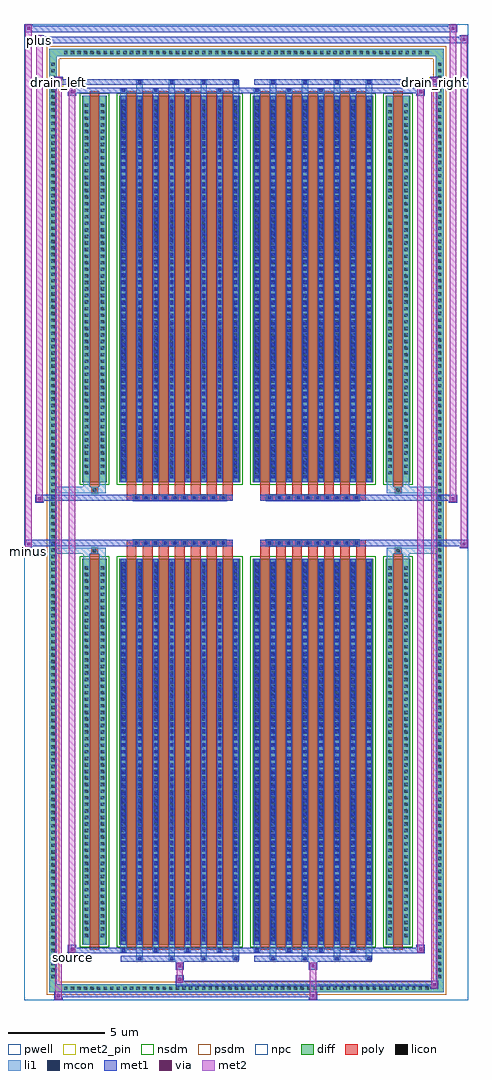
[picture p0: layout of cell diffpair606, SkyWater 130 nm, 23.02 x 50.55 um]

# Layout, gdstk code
import gdstk
lib = gdstk.Library(unit=1e-6, precision=5e-09)
def R(c, l, rs):  # rectangles x0, y0, x1, y1
    for r in rs: c.add(gdstk.rectangle(r[:2], r[2:], *l))
def A(c, l, x, y, w, h, nx, ny, dx, dy):  # array of equal rectangles
    R(c, l, [(x+i*dx, y+j*dy, x+i*dx+w, y+j*dy+h) for i in range(nx) for j in range(ny)])
def P(c, l, *ps):  # polygons
    for p in ps: c.add(gdstk.Polygon(p, *l))
pwell = (64, 44)
diff = (65, 20)
poly = (66, 20)
licon = (66, 44)
li1 = (67, 20)
mcon = (67, 44)
met1 = (68, 20)
via = (68, 44)
met2_pin = (69, 16)
met2 = (69, 20)
nsdm = (93, 44)
psdm = (94, 20)
npc = (95, 20)

diffpair606 = lib.new_cell('diffpair606')
R(diffpair606, pwell, [(-11.49,-24.84,11.49,25.71), (-8.81,-23.03,-0.01,-0.805), (0.01,-23.03,8.81,-0.805), (-8.81,0.805,-0.01,23.03), (0.01,0.805,8.81,23.03)])
A(diffpair606, diff, -9.555, -24.44, 0.41, 0.41, 56, 2, 0.34, 48.47)
A(diffpair606, diff, -10.22, -23.835, 0.41, 0.41, 1, 140, 0, 0.34)
A(diffpair606, diff, 9.81, -23.835, 0.41, 0.41, 1, 140, 0, 0.34)
R(diffpair606, diff, [(-9.555,-24.44,9.555,-24.03), (-10.22,-23.835,-9.81,23.835), (9.81,-23.835,10.22,23.835), (-8.5,-21.985,-7.22,-1.985), (-6.58,-21.985,-0.32,-1.985), (0.32,-21.985,6.58,-1.985), (7.22,-21.985,8.5,-1.985), (-8.5,1.985,-7.22,21.985), (-6.58,1.985,-0.32,21.985), (0.32,1.985,6.58,21.985), (7.22,1.985,8.5,21.985), (-9.555,24.03,9.555,24.44)])
P(diffpair606, diff, [(10.22,24.44),(-10.22,24.44),(-10.22,-24.03),(-9.81,-24.03),(-9.81,24.03),(9.81,24.03),(9.81,-24.03),(-9.81,-24.03),(-10.22,-24.03),(-10.22,-24.44),(10.22,-24.44)])
A(diffpair606, poly, -6.19, -22.235, 0.5, 20.5, 7, 2, 0.83, 23.97)
A(diffpair606, poly, 0.71, -22.235, 0.5, 20.5, 7, 2, 0.83, 23.97)
A(diffpair606, poly, -6.19, -1.735, 0.5, 0.4, 7, 2, 0.83, 3.07)
A(diffpair606, poly, 0.71, -1.735, 0.5, 0.4, 7, 2, 0.83, 3.07)
A(diffpair606, poly, -5.865, -1.335, 0.33, 0.33, 10, 2, 0.5, 2.34)
A(diffpair606, poly, 1.035, -1.335, 0.33, 0.33, 10, 2, 0.5, 2.34)
R(diffpair606, poly, [(-8.11,-22.235,-7.61,-1.735), (7.61,-22.235,8.11,-1.735), (-8.025,-1.735,-7.695,-1.405), (-8.025,-1.735,-7.695,-1.405), (7.695,-1.735,8.025,-1.405), (7.695,-1.735,8.025,-1.405), (-6.19,-1.335,-0.71,-1.005), (0.71,-1.335,6.19,-1.005), (-6.19,1.005,-0.71,1.335), (0.71,1.005,6.19,1.335), (-8.025,1.405,-7.695,1.735), (-8.025,1.405,-7.695,1.735), (7.695,1.405,8.025,1.735), (7.695,1.405,8.025,1.735), (-8.11,1.735,-7.61,22.235), (7.61,1.735,8.11,22.235)])
A(diffpair606, licon, -9.435, -24.32, 0.17, 0.17, 56, 2, 0.34, 48.47)
A(diffpair606, licon, -10.1, -23.715, 0.17, 0.17, 1, 140, 0, 0.34)
A(diffpair606, licon, 9.93, -23.715, 0.17, 0.17, 1, 140, 0, 0.34)
A(diffpair606, licon, -8.36, -21.59, 0.17, 0.17, 1, 57, 0, 0.34)
A(diffpair606, licon, -7.53, -21.59, 0.17, 0.17, 1, 57, 0, 0.34)
A(diffpair606, licon, -6.44, -21.59, 0.17, 0.17, 8, 57, 0.83, 0.34)
A(diffpair606, licon, 0.46, -21.59, 0.17, 0.17, 8, 57, 0.83, 0.34)
A(diffpair606, licon, 7.36, -21.59, 0.17, 0.17, 1, 57, 0, 0.34)
A(diffpair606, licon, 8.19, -21.59, 0.17, 0.17, 1, 57, 0, 0.34)
A(diffpair606, licon, -5.785, -1.255, 0.17, 0.17, 10, 2, 0.5, 2.34)
A(diffpair606, licon, 1.115, -1.255, 0.17, 0.17, 10, 2, 0.5, 2.34)
A(diffpair606, licon, -8.36, 2.38, 0.17, 0.17, 1, 57, 0, 0.34)
A(diffpair606, licon, -7.53, 2.38, 0.17, 0.17, 1, 57, 0, 0.34)
A(diffpair606, licon, -6.44, 2.38, 0.17, 0.17, 8, 57, 0.83, 0.34)
A(diffpair606, licon, 0.46, 2.38, 0.17, 0.17, 8, 57, 0.83, 0.34)
A(diffpair606, licon, 7.36, 2.38, 0.17, 0.17, 1, 57, 0, 0.34)
A(diffpair606, licon, 8.19, 2.38, 0.17, 0.17, 1, 57, 0, 0.34)
R(diffpair606, licon, [(-7.945,-1.655,-7.775,-1.485), (7.775,-1.655,7.945,-1.485), (-7.945,1.485,-7.775,1.655), (7.775,1.485,7.945,1.655)])
A(diffpair606, li1, -9.515, -24.4, 0.33, 0.33, 56, 2, 0.34, 48.47)
A(diffpair606, li1, -10.18, -23.795, 0.33, 0.33, 1, 140, 0, 0.34)
A(diffpair606, li1, 9.85, -23.795, 0.33, 0.33, 1, 140, 0, 0.34)
A(diffpair606, li1, -5.69, -22.79, 0.33, 0.805, 4, 2, 1.66, 44.775)
A(diffpair606, li1, -5.61, -22.79, 0.17, 0.17, 4, 2, 1.66, 45.41)
A(diffpair606, li1, 1.21, -22.79, 0.33, 0.805, 4, 2, 1.66, 44.775)
A(diffpair606, li1, 1.29, -22.79, 0.17, 0.17, 4, 2, 1.66, 45.41)
A(diffpair606, li1, -6.52, -22.36, 0.33, 0.375, 4, 2, 1.66, 44.345)
A(diffpair606, li1, -6.44, -22.36, 0.17, 0.17, 4, 2, 1.66, 44.55)
A(diffpair606, li1, 0.38, -22.36, 0.33, 0.375, 4, 2, 1.66, 44.345)
A(diffpair606, li1, 0.46, -22.36, 0.17, 0.17, 4, 2, 1.66, 44.55)
A(diffpair606, li1, -6.52, -21.985, 0.33, 20, 8, 2, 0.83, 23.97)
A(diffpair606, li1, 0.38, -21.985, 0.33, 20, 8, 2, 0.83, 23.97)
A(diffpair606, li1, -6.44, -21.79, 0.17, 0.17, 8, 55, 0.83, 0.36)
A(diffpair606, li1, -6.44, -21.79, 0.17, 19.61, 8, 2, 0.83, 23.97)
A(diffpair606, li1, 0.46, -21.79, 0.17, 0.17, 8, 55, 0.83, 0.36)
A(diffpair606, li1, 0.46, -21.79, 0.17, 19.61, 8, 2, 0.83, 23.97)
A(diffpair606, li1, -8.44, -21.67, 0.33, 0.33, 1, 57, 0, 0.34)
A(diffpair606, li1, -7.61, -21.67, 0.33, 0.33, 1, 57, 0, 0.34)
A(diffpair606, li1, -6.52, -21.67, 0.33, 0.33, 8, 57, 0.83, 0.34)
A(diffpair606, li1, 0.38, -21.67, 0.33, 0.33, 8, 57, 0.83, 0.34)
A(diffpair606, li1, 7.28, -21.67, 0.33, 0.33, 1, 57, 0, 0.34)
A(diffpair606, li1, 8.11, -21.67, 0.33, 0.33, 1, 57, 0, 0.34)
A(diffpair606, li1, -5.865, -1.335, 0.33, 0.33, 10, 2, 0.5, 2.34)
A(diffpair606, li1, 1.035, -1.335, 0.33, 0.33, 10, 2, 0.5, 2.34)
A(diffpair606, li1, -6.44, 2.18, 0.17, 0.17, 8, 55, 0.83, 0.36)
A(diffpair606, li1, 0.46, 2.18, 0.17, 0.17, 8, 55, 0.83, 0.36)
A(diffpair606, li1, -8.44, 2.3, 0.33, 0.33, 1, 57, 0, 0.34)
A(diffpair606, li1, -7.61, 2.3, 0.33, 0.33, 1, 57, 0, 0.34)
A(diffpair606, li1, -6.52, 2.3, 0.33, 0.33, 8, 57, 0.83, 0.34)
A(diffpair606, li1, 0.38, 2.3, 0.33, 0.33, 8, 57, 0.83, 0.34)
A(diffpair606, li1, 7.28, 2.3, 0.33, 0.33, 1, 57, 0, 0.34)
A(diffpair606, li1, 8.11, 2.3, 0.33, 0.33, 1, 57, 0, 0.34)
R(diffpair606, li1, [(-10.22,-24.44,-9.81,-24.03), (-10.22,-24.44,-9.81,-24.03), (-9.81,-24.44,9.81,-24.03), (9.81,-24.44,10.22,-24.03), (9.81,-24.44,10.22,-24.03), (-10.22,-24.03,-9.81,24.03), (9.81,-24.03,10.22,24.03), (-8.44,-21.985,-8.11,-1.985), (-7.61,-21.985,-7.28,-1.985), (7.28,-21.985,7.61,-1.985), (8.11,-21.985,8.44,-1.985), (-8.44,-1.985,-8.11,-1.405), (-7.61,-1.985,-7.28,-1.405), (7.28,-1.985,7.61,-1.405), (8.11,-1.985,8.44,-1.405), (-10.22,-1.735,-8.025,-1.405), (-8.44,-1.735,-8.025,-1.405), (-8.025,-1.735,-7.695,-1.405), (-7.695,-1.735,-7.28,-1.405), (7.28,-1.735,7.695,-1.405), (7.695,-1.735,8.025,-1.405), (7.695,-1.735,10.22,-1.405), (8.025,-1.735,8.44,-1.405), (-10.22,1.405,-8.025,1.735), (-8.44,1.405,-8.025,1.735), (-8.44,1.405,-8.11,1.985), (-8.025,1.405,-7.695,1.735), (-7.695,1.405,-7.28,1.735), (-7.61,1.405,-7.28,1.985), (7.28,1.405,7.695,1.735), (7.28,1.405,7.61,1.985), (7.695,1.405,8.025,1.735), (7.695,1.405,10.22,1.735), (8.025,1.405,8.44,1.735), (8.11,1.405,8.44,1.985), (-8.44,1.985,-8.11,21.985), (-7.61,1.985,-7.28,21.985), (7.28,1.985,7.61,21.985), (8.11,1.985,8.44,21.985), (-10.22,24.03,-9.81,24.44), (-10.22,24.03,-9.81,24.44), (-9.81,24.03,9.81,24.44), (9.81,24.03,10.22,24.44), (9.81,24.03,10.22,24.44)])
A(diffpair606, mcon, -5.61, -22.79, 0.17, 0.17, 4, 2, 1.66, 45.41)
A(diffpair606, mcon, 1.29, -22.79, 0.17, 0.17, 4, 2, 1.66, 45.41)
A(diffpair606, mcon, -6.44, -22.36, 0.17, 0.17, 4, 2, 1.66, 44.55)
A(diffpair606, mcon, 0.46, -22.36, 0.17, 0.17, 4, 2, 1.66, 44.55)
A(diffpair606, mcon, -6.44, -21.79, 0.17, 0.17, 8, 55, 0.83, 0.36)
A(diffpair606, mcon, 0.46, -21.79, 0.17, 0.17, 8, 55, 0.83, 0.36)
A(diffpair606, mcon, -5.785, -1.255, 0.17, 0.17, 10, 2, 0.5, 2.34)
A(diffpair606, mcon, 1.115, -1.255, 0.17, 0.17, 10, 2, 0.5, 2.34)
A(diffpair606, mcon, -6.44, 2.18, 0.17, 0.17, 8, 55, 0.83, 0.36)
A(diffpair606, mcon, 0.46, 2.18, 0.17, 0.17, 8, 55, 0.83, 0.36)
A(diffpair606, met1, -5.67, -22.85, 0.29, 0.29, 4, 2, 1.66, 45.41)
A(diffpair606, met1, 1.23, -22.85, 0.29, 0.29, 4, 2, 1.66, 45.41)
A(diffpair606, met1, -6.5, -22.42, 0.29, 0.29, 4, 2, 1.66, 44.55)
A(diffpair606, met1, 0.4, -22.42, 0.29, 0.29, 4, 2, 1.66, 44.55)
A(diffpair606, met1, -6.5, -21.985, 0.29, 20, 8, 2, 0.83, 23.97)
A(diffpair606, met1, 0.4, -21.985, 0.29, 20, 8, 2, 0.83, 23.97)
A(diffpair606, met1, -6.5, -21.85, 0.29, 0.29, 8, 55, 0.83, 0.36)
A(diffpair606, met1, 0.4, -21.85, 0.29, 0.29, 8, 55, 0.83, 0.36)
A(diffpair606, met1, -5.845, -1.315, 0.29, 0.29, 10, 2, 0.5, 2.34)
A(diffpair606, met1, 1.055, -1.315, 0.29, 0.29, 10, 2, 0.5, 2.34)
A(diffpair606, met1, -6.5, 2.12, 0.29, 0.29, 8, 55, 0.83, 0.36)
A(diffpair606, met1, 0.4, 2.12, 0.29, 0.29, 8, 55, 0.83, 0.36)
R(diffpair606, met1, [(-9.95,-24.84,-9.52,-24.41), (3.235,-24.84,3.665,-24.41), (-9.95,-24.7,3.665,-24.41), (9.52,-24.27,9.95,-23.84), (-3.665,-24.13,9.95,-23.84), (-3.665,-23.99,-3.235,-23.56), (-3.665,-23.28,-3.235,-22.85), (3.235,-23.28,3.665,-22.85), (-6.5,-22.85,-0.4,-22.56), (0.4,-22.85,6.5,-22.56), (-9.24,-22.42,-8.81,-21.99), (-9.24,-22.42,-6.5,-22.13), (-6.5,-22.42,-0.4,-22.13), (-0.4,-22.42,0.4,-22.13), (0.4,-22.42,6.5,-22.13), (6.5,-22.42,9.24,-22.13), (8.81,-22.42,9.24,-21.99), (-11.49,-1.435,-11.06,-1.005), (11.06,-1.435,11.49,-1.005), (-11.49,-1.335,-0.71,-1.005), (-6.19,-1.335,-0.71,-1.005), (0.71,-1.335,6.19,-1.005), (0.71,-1.335,11.49,-1.005), (-10.92,0.905,-10.49,1.335), (10.49,0.905,10.92,1.335), (-10.92,1.005,-6.19,1.335), (-6.19,1.005,-0.71,1.335), (0.71,1.005,6.19,1.335), (6.19,1.005,10.92,1.335), (-9.24,21.99,-8.81,22.42), (8.81,21.99,9.24,22.42), (-9.24,22.13,-6.5,22.42), (-6.5,22.13,-0.4,22.42), (-0.4,22.13,0.4,22.42), (0.4,22.13,6.5,22.42), (6.5,22.13,9.24,22.42), (-9.95,22.56,-9.52,22.99), (-9.95,22.56,-6.5,22.85), (-6.5,22.56,-0.4,22.85), (0.4,22.56,6.5,22.85), (6.5,22.56,9.95,22.85), (9.52,22.56,9.95,22.99), (-10.92,24.71,-10.49,25.14), (-10.92,24.71,-8.81,25.04), (-8.81,24.71,8.81,25.04), (8.81,24.71,11.49,25.04), (11.06,24.71,11.49,25.14), (-11.49,25.28,-11.06,25.71), (-11.49,25.28,-8.81,25.61), (-8.81,25.28,8.81,25.61), (8.81,25.28,10.92,25.61), (10.49,25.28,10.92,25.71)])
R(diffpair606, via, [(-9.81,-24.7,-9.66,-24.55), (3.375,-24.7,3.525,-24.55), (9.66,-24.13,9.81,-23.98), (-3.525,-23.85,-3.375,-23.7), (-3.525,-23.14,-3.375,-22.99), (3.375,-23.14,3.525,-22.99), (-9.1,-22.28,-8.95,-22.13), (8.95,-22.28,9.1,-22.13), (-11.35,-1.295,-11.2,-1.145), (11.2,-1.295,11.35,-1.145), (-10.78,1.045,-10.63,1.195), (10.63,1.045,10.78,1.195), (-9.1,22.13,-8.95,22.28), (8.95,22.13,9.1,22.28), (-9.81,22.7,-9.66,22.85), (9.66,22.7,9.81,22.85), (-10.78,24.85,-10.63,25), (11.2,24.85,11.35,25), (-11.35,25.42,-11.2,25.57), (10.63,25.42,10.78,25.57)])
R(diffpair606, met2_pin, [(-9.275,-22.87,-8.775,-22.37), (-11.525,-1.885,-11.025,-1.385), (-9.985,22.44,-9.485,22.94), (9.485,22.44,9.985,22.94), (-10.955,24.59,-10.455,25.09)])
R(diffpair606, met2, [(-9.9,-24.79,-9.57,-24.46), (-9.9,-24.79,-9.57,22.94), (3.285,-24.79,3.615,-24.46), (3.285,-24.46,3.615,-23.23), (9.57,-24.22,9.9,-23.89), (9.57,-24.22,9.9,22.94), (-3.615,-23.94,-3.285,-23.61), (-3.615,-23.61,-3.285,-23.23), (-3.615,-23.23,-3.285,-22.9), (3.285,-23.23,3.615,-22.9), (-9.19,-22.37,-8.86,-22.04), (-9.19,-22.37,-8.86,22.37), (8.86,-22.37,9.19,-22.04), (8.86,-22.37,9.19,22.37), (-11.44,-1.385,-11.11,-1.055), (-11.44,-1.385,-11.11,25.66), (11.11,-1.385,11.44,-1.055), (11.11,-1.385,11.44,25.09), (-10.87,0.955,-10.54,1.285), (-10.87,0.955,-10.54,25.09), (10.54,0.955,10.87,1.285), (10.54,0.955,10.87,25.66), (-9.19,22.04,-8.86,22.37), (8.86,22.04,9.19,22.37), (-9.9,22.61,-9.57,22.94), (9.57,22.61,9.9,22.94), (-10.87,24.76,-10.54,25.09), (11.11,24.76,11.44,25.09), (-11.44,25.33,-11.11,25.66), (10.54,25.33,10.87,25.66)])
P(diffpair606, met2, [(11.44,-1.385),(11.44,-1.385),(11.44,-1.055),(11.44,-1.055)],
  [(11.44,24.76),(11.44,24.76),(11.44,25.09),(11.44,25.09)],
  [(-11.11,-1.385),(-11.11,-1.385),(-11.11,-1.055),(-11.11,-1.055)],
  [(-11.11,25.33),(-11.11,25.33),(-11.11,25.66),(-11.11,25.66)],
  [(10.87,0.955),(10.87,0.955),(10.87,1.285),(10.87,1.285)],
  [(10.87,25.33),(10.87,25.33),(10.87,25.66),(10.87,25.66)],
  [(-10.54,0.955),(-10.54,0.955),(-10.54,1.285),(-10.54,1.285)],
  [(-10.54,24.76),(-10.54,24.76),(-10.54,25.09),(-10.54,25.09)],
  [(-9.57,-24.79),(-9.57,-24.79),(-9.57,-24.46),(-9.57,-24.46)],
  [(-9.57,22.61),(-9.57,22.61),(-9.57,22.94),(-9.57,22.94)],
  [(9.9,-24.22),(9.9,-24.22),(9.9,-23.89),(9.9,-23.89)],
  [(9.9,22.61),(9.9,22.61),(9.9,22.94),(9.9,22.94)],
  [(-8.86,-22.37),(-8.86,-22.37),(-8.86,-22.04),(-8.86,-22.04)],
  [(-8.86,22.04),(-8.86,22.04),(-8.86,22.37),(-8.86,22.37)],
  [(9.19,-22.37),(9.19,-22.37),(9.19,-22.04),(9.19,-22.04)],
  [(9.19,22.04),(9.19,22.04),(9.19,22.37),(9.19,22.37)])
R(diffpair606, nsdm, [(-8.63,-22.115,-7.09,-1.855), (-6.71,-22.115,-0.19,-1.855), (0.19,-22.115,6.71,-1.855), (7.09,-22.115,8.63,-1.855), (-8.63,1.855,-7.09,22.115), (-6.71,1.855,-0.19,22.115), (0.19,1.855,6.71,22.115), (7.09,1.855,8.63,22.115)])
P(diffpair606, psdm, [(10.35,24.57),(-10.35,24.57),(-10.35,-23.9),(-9.68,-23.9),(-9.68,23.9),(9.68,23.9),(9.68,-23.9),(-9.68,-23.9),(-10.35,-23.9),(-10.35,-24.57),(10.35,-24.57)])
A(diffpair606, npc, -5.885, -1.355, 0.37, 0.37, 10, 2, 0.5, 2.34)
A(diffpair606, npc, 1.015, -1.355, 0.37, 0.37, 10, 2, 0.5, 2.34)
R(diffpair606, npc, [(-8.045,-1.755,-7.675,-1.385), (7.675,-1.755,8.045,-1.385), (-5.885,-1.355,-5.015,-0.985), (-5.885,-1.355,-5.015,-0.985), (-5.385,-1.355,-4.515,-0.985), (-5.385,-1.355,-4.515,-0.985), (-4.885,-1.355,-4.015,-0.985), (-4.885,-1.355,-4.015,-0.985), (-4.385,-1.355,-3.515,-0.985), (-4.385,-1.355,-3.515,-0.985), (-3.885,-1.355,-3.015,-0.985), (-3.885,-1.355,-3.015,-0.985), (-3.385,-1.355,-2.515,-0.985), (-3.385,-1.355,-2.515,-0.985), (-2.885,-1.355,-2.015,-0.985), (-2.885,-1.355,-2.015,-0.985), (-2.385,-1.355,-1.515,-0.985), (-2.385,-1.355,-1.515,-0.985), (-1.885,-1.355,-1.015,-0.985), (-1.885,-1.355,-1.015,-0.985), (1.015,-1.355,1.885,-0.985), (1.015,-1.355,1.885,-0.985), (1.515,-1.355,2.385,-0.985), (1.515,-1.355,2.385,-0.985), (2.015,-1.355,2.885,-0.985), (2.015,-1.355,2.885,-0.985), (2.515,-1.355,3.385,-0.985), (2.515,-1.355,3.385,-0.985), (3.015,-1.355,3.885,-0.985), (3.015,-1.355,3.885,-0.985), (3.515,-1.355,4.385,-0.985), (3.515,-1.355,4.385,-0.985), (4.015,-1.355,4.885,-0.985), (4.015,-1.355,4.885,-0.985), (4.515,-1.355,5.385,-0.985), (4.515,-1.355,5.385,-0.985), (5.015,-1.355,5.885,-0.985), (5.015,-1.355,5.885,-0.985), (-5.885,0.985,-5.015,1.355), (-5.885,0.985,-5.015,1.355), (-5.385,0.985,-4.515,1.355), (-5.385,0.985,-4.515,1.355), (-4.885,0.985,-4.015,1.355), (-4.885,0.985,-4.015,1.355), (-4.385,0.985,-3.515,1.355), (-4.385,0.985,-3.515,1.355), (-3.885,0.985,-3.015,1.355), (-3.885,0.985,-3.015,1.355), (-3.385,0.985,-2.515,1.355), (-3.385,0.985,-2.515,1.355), (-2.885,0.985,-2.015,1.355), (-2.885,0.985,-2.015,1.355), (-2.385,0.985,-1.515,1.355), (-2.385,0.985,-1.515,1.355), (-1.885,0.985,-1.015,1.355), (-1.885,0.985,-1.015,1.355), (1.015,0.985,1.885,1.355), (1.015,0.985,1.885,1.355), (1.515,0.985,2.385,1.355), (1.515,0.985,2.385,1.355), (2.015,0.985,2.885,1.355), (2.015,0.985,2.885,1.355), (2.515,0.985,3.385,1.355), (2.515,0.985,3.385,1.355), (3.015,0.985,3.885,1.355), (3.015,0.985,3.885,1.355), (3.515,0.985,4.385,1.355), (3.515,0.985,4.385,1.355), (4.015,0.985,4.885,1.355), (4.015,0.985,4.885,1.355), (4.515,0.985,5.385,1.355), (4.515,0.985,5.385,1.355), (5.015,0.985,5.885,1.355), (5.015,0.985,5.885,1.355), (-8.045,1.385,-7.675,1.755), (7.675,1.385,8.045,1.755)])
diffpair606.add(gdstk.Label('minus', (-11.275,-1.635), layer=69, texttype=5))
diffpair606.add(gdstk.Label('drain_right', (9.735,22.69), layer=69, texttype=5))
diffpair606.add(gdstk.Label('drain_left', (-9.735,22.69), layer=69, texttype=5))
diffpair606.add(gdstk.Label('source', (-9.025,-22.62), layer=69, texttype=5))
diffpair606.add(gdstk.Label('plus', (-10.705,24.84), layer=69, texttype=5))

lib.write_gds('diffpair606.gds')
